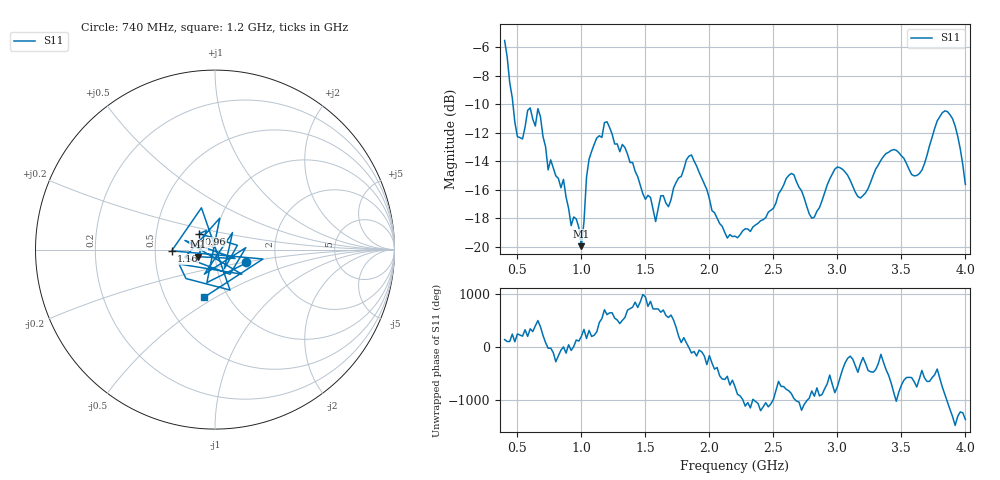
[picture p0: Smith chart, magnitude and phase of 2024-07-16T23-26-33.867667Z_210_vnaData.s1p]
!Created with skrf (http://scikit-rf.org).
# Hz S RI R 50.0
!freq ReS11 ImS11
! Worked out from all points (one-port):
!   181 points, 400 MHz to 4 GHz, reference 50 ohm
!   lowest |S11| = -20.0 dB at 1 GHz (marker M1), VSWR 1.22, Z = 41.4 - j3.33 ohm
!   |S11| at or under -10 dB: 465.1 MHz to end of sweep
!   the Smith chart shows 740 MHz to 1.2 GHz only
!   S11 on the Smith chart (normalised r, x): 740 MHz: 1.40, -0.20; 960 MHz: 0.83, +0.15; 1.16 GHz: 0.61, -0.01; 1.2 GHz: 0.77, -0.44
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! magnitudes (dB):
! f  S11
! 400 MHz  -5.5
! 500 MHz  -12.3
! 660 MHz  -10.3
! 740 MHz  -14.6
! 860 MHz  -15.3
! 920 MHz  -18.5
! 960 MHz  -18.1
! 1 GHz  -20.0
! 1.06 GHz  -13.9
! 1.16 GHz  -12.3
! 1.2 GHz  -11.2
! 1.3 GHz  -13.3
! 1.58 GHz  -18.2
! 1.76 GHz  -15.2
! 1.86 GHz  -13.6
! 2.02 GHz  -17.5
! 2.2 GHz  -19.3
! 2.66 GHz  -15.0
! 2.8 GHz  -18.0
! 2.98 GHz  -14.6
! 3.1 GHz  -15.3
! 3.18 GHz  -16.6
! 3.44 GHz  -13.2
! 3.56 GHz  -14.6
! 3.66 GHz  -14.6
! 3.84 GHz  -10.5
! 3.92 GHz  -11.5
! 4 GHz  -15.6
